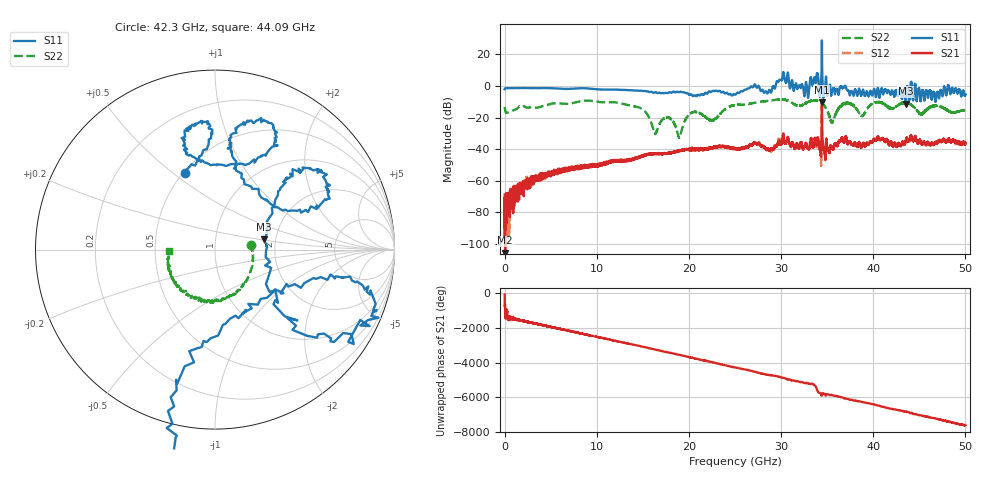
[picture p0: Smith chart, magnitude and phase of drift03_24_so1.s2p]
!Created with skrf (http://scikit-rf.org).
# Hz S RI R 50.0
!freq ReS11 ImS11 ReS21 ImS21 ReS12 ImS12 ReS22 ImS22
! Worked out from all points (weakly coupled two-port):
!   10000 points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, 5.3 MHz to 50 GHz, reference 50 ohm
!   highest |S21| = -10.36 dB at 34.43 GHz (marker M1); lowest = -105.3 dB at 70.3 MHz (marker M2)
!   lowest |S11| = -11.1 dB at 43.52 GHz (marker M3), VSWR 1.77, Z = 86.4 + j10.9 ohm
!   |S11| at or under -10 dB: 43.49554 GHz to 43.54333 GHz (47.79 MHz wide, 0.11 % of centre)
!   |S22| runs from -32.9 to -8.4 dB; largest |S21 - S12| = 0.11
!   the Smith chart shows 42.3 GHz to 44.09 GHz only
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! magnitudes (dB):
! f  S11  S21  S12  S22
! 5.3 MHz  -2.1  -74.3  -68.0  -13.3
! 70.3 MHz  -1.5  -105.3  -75.1  -15.6
! 3.125 GHz  -1.4  -62.3  -57.5  -13.4
! 8.34 GHz  -1.5  -51.5  -51.2  -9.5
! 14.53 GHz  -3.1  -45.2  -45.2  -13.5
! 16.67 GHz  -4.4  -42.7  -42.7  -26.0
! 17.82 GHz  -4.2  -42.3  -42.6  -20.1
! 18.97 GHz  -3.9  -41.1  -41.0  -32.8
! 20.28 GHz  -5.5  -40.0  -39.9  -17.1
! 22.57 GHz  -3.2  -39.4  -38.9  -21.8
! 25.01 GHz  -5.5  -39.6  -39.7  -12.1
! 28.72 GHz  -2.5  -40.5  -40.6  -9.4
! 30.14 GHz  4.4  -33.8  -34.1  -8.5
! 32.74 GHz  2.0  -37.3  -36.6  -10.7
! 33.34 GHz  2.5  -34.9  -35.3  -9.4
! 34.43 GHz  28.7  -10.4  -13.0  -10.9
! 35.53 GHz  -3.4  -38.8  -39.0  -23.2
! 36.95 GHz  0.1  -32.8  -33.3  -11.5
! 38.76 GHz  -5.5  -38.0  -38.2  -19.0
! 41.67 GHz  -3.1  -36.9  -36.9  -13.6
! 43.52 GHz  -11.1  -35.1  -35.4  -11.0
! 50 GHz  -5.3  -35.8  -36.3  -15.5
